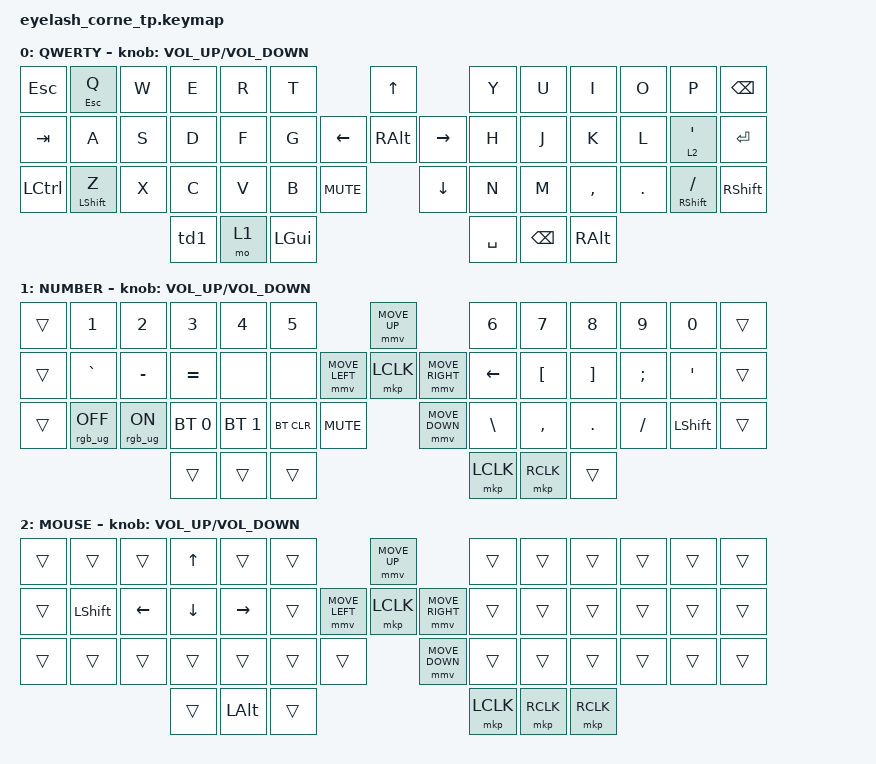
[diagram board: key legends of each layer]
#define ZMK_POINTING_DEFAULT_MOVE_VAL 1200  // 600
#define ZMK_POINTING_DEFAULT_SCRL_VAL 25   // 10

#include <input/processors.dtsi>
#include <zephyr/dt-bindings/input/input-event-codes.h>


// #include <dt-bindings/zmk/pointing.h>

#define HAS_MOUSE_KEYS
#define HAS_MOUSE_TP

#ifdef HAS_MOUSE_KEYS

#include <dt-bindings/zmk/mouse.h>
#include <behaviors/mouse_keys.dtsi>

#endif  // HAS_MOUSE_KEYS

#ifdef HAS_MOUSE_TP

// We store the trackpoint settings in a separate file
// to make organization a little easier.

#include "include/mouse_tp.dtsi"
#include <behaviors.dtsi>
#include <dt-bindings/zmk/bt.h>
#include <dt-bindings/zmk/keys.h>
#include <dt-bindings/zmk/outputs.h>
#include <dt-bindings/zmk/pointing.h>
#include <dt-bindings/zmk/rgb.h>

#endif

&msc {
    time-to-max-speed-ms = <50>;       // 300
    acceleration-exponent = <1>;
};


/ {
    behaviors {
        td0: td0 {
            compatible = "zmk,behavior-tap-dance";

            //display-name = "Shift/Caps Lock Tap Dance";

            #binding-cells = <0>;
            bindings = <&kp LEFT_SHIFT>, <&kp CAPS>;
        };

        td1: td1 {
            compatible = "zmk,behavior-tap-dance";
            label = "DOUBLE_TAP";
            #binding-cells = <0>;
            bindings = <&kp LCTRL>, <&kp LEFT_ALT>;
        };

        hm: homerow_mods {
            compatible = "zmk,behavior-hold-tap";
            label = "HOMEROW_MODS";
            #binding-cells = <2>;
            tapping-term-ms = <200>;
            quick-tap-ms = <0>;
            flavor = "tap-preferred";
            bindings = <&kp>, <&kp>;
        };
    };

    combos {
        compatible = "zmk,combos";

        combo_tilde {
            bindings = <&kp GRAVE>;
            key-positions = <1 2>;
        };

        combo_tab {
            bindings = <&kp TAB>;
            key-positions = <16 15>;
        };

        combo_enter {
            bindings = <&kp ENTER>;
            key-positions = <24 25>;
        };

        settings_layer {
            bindings = <&mo 3>;
            key-positions = <13 14 15 16 17>;
        };
    };

    rgb_encoder: rgb_encoder {
        compatible = "zmk,behavior-sensor-rotate";
        #sensor-binding-cells = <0>;
        bindings = <&rgb_ug RGB_BRI>, <&rgb_ug RGB_BRD>;
    };

    scroll_encoder: scroll_encoder {
        compatible = "zmk,behavior-sensor-rotate";
        #sensor-binding-cells = <0>;
        bindings = <&msc SCRL_DOWN>, <&msc SCRL_UP>;
        tap-ms = <50>;
    };

    keymap {
        compatible = "zmk,keymap";

        default_layer {
            display-name = "QWERTY";
            bindings = <
&kp ESC    &hm ESC Q         &kp W  &kp E  &kp R  &kp T                             &kp UP                    &kp Y      &kp U          &kp I          &kp O    &kp P                  &kp BSPC
&kp TAB    &kp A             &kp S  &kp D  &kp F  &kp G                   &kp LEFT  &kp RIGHT_ALT  &kp RIGHT  &kp H      &kp J          &kp K          &kp L    &lt 2 SQT              &kp ENTER
&kp LCTRL  &hm LEFT_SHIFT Z  &kp X  &kp C  &kp V  &kp B     &kp C_MUTE              &kp DOWN                  &kp N      &kp M          &kp COMMA      &kp DOT  &mt RIGHT_SHIFT SLASH  &kp RIGHT_SHIFT
                                    &td1   &mo 1  &kp LGUI                                                    &kp SPACE  &kp BACKSPACE  &kp RIGHT_ALT
            >;
            sensor-bindings = <&inc_dec_kp C_VOLUME_UP C_VOLUME_DOWN>;
        };

        lower_layer {
            display-name = "NUMBER";
            bindings = <
&trans  &kp N1           &kp N2          &kp N3        &kp N4        &kp N5                                    &mmv MOVE_UP                     &kp N6                &kp N7            &kp N8             &kp N9     &kp N0          &trans
&trans  &kp GRAVE        &kp MINUS       &kp EQUAL     &none         &none                     &mmv MOVE_LEFT  &mkp LCLK       &mmv MOVE_RIGHT  &kp LEFT              &kp LEFT_BRACKET  &kp RIGHT_BRACKET  &kp SEMI   &kp SQT         &trans
&trans  &rgb_ug RGB_OFF  &rgb_ug RGB_ON  &bt BT_SEL 0  &bt BT_SEL 1  &bt BT_CLR  &kp C_MUTE                    &mmv MOVE_DOWN                   &kp BACKSLASH         &kp COMMA         &kp PERIOD         &kp SLASH  &kp LEFT_SHIFT  &trans
                                         &trans        &trans        &trans                                                                     &mkp LCLK             &mkp RCLK         &trans
            >;

            sensor-bindings = <&inc_dec_kp C_VOLUME_UP C_VOLUME_DOWN>;
        };

        mouse_temp_layer {
            display-name = "MOUSE";
            bindings = <
&trans  &trans          &trans          &kp UP_ARROW    &trans          &trans                            &mmv MOVE_UP                &trans     &trans     &trans  &trans  &trans  &trans
&trans  &kp LEFT_SHIFT  &kp LEFT_ARROW  &kp DOWN_ARROW  &kp RIGHT_ARROW &trans            &mmv MOVE_LEFT  &mkp LCLK  &mmv MOVE_RIGHT  &trans     &trans     &trans  &trans  &trans  &trans
&trans  &trans          &trans          &trans          &trans          &trans  &trans                    &mmv MOVE_DOWN              &trans     &trans     &trans  &trans  &trans  &trans
                        &trans          &kp LEFT_ALT    &trans                                                                        &mkp LCLK  &mkp RCLK  &mkp RCLK
            >;

            sensor-bindings = <&inc_dec_kp C_VOLUME_UP C_VOLUME_DOWN>;
        };

    };
};
